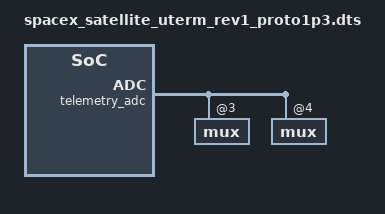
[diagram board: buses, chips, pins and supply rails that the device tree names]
/*
 * Copyright (C) 2018 STMicroelectronics (R&D) Limited.
 * Author: Nicolas Toromanoff <nicolas.toromanoff@st.com>
 *
 * This program is free software; you can redistribute it and/or modify
 * it under the terms of the GNU General Public License version 2 as
 * published by the Free Software Foundation.
 */

/dts-v1/;
#include "spacex_satellite_uterm_cut2.dtsi"
#include "spacex_satellite_uterm_production.dtsi"
#include "spacex_satellite_uterm_imu_spi2.dtsi"

/ {
	/*
	 * No STSAFE on this board.
	 */
	aliases {
		/delete-property/ i2c4;
	};

	gpios {
		/*
		 * WiFi.
		 */
		factory_rst   = <&pio21 6>;

		/*
		 * GPS.
		 */
		gps_boot      = <&pio10 4 1>; /* 0=UART, 1=SPI  */
		gps_reset     = <&pio11 7 1>; /* 0=reset, 1=run */

		/*
		 * Reset.
		 */
		self_reset = <&pio23 5 1>;   /* 0=reset*/

		/*
		 * Shiraz. (DBFs)
		 */
		dbf_v0p9_ok   = <&pio31 1>;

		/*
		 * Peanuts. (FEMs)
		 */
		fem_v1p8_ok   = <&pio31 0>;

		/*
		 * Actuator Control.
		 */
		motor2_nsleep = <&pio20 7 0>; /* 0=sleep_mode */
		motor2_ph     = <&pio20 6 0>; /* 0=reverse, 1=fwd */
		motor2_nfault = <&pio20 3>;   /* 0=at_fault */

		motor1_nsleep = <&pio20 0 0>; /* 0=sleep_mode */
		motor1_ph     = <&pio20 5 0>; /* 0=reverse, 1=fwd */
		motor1_nfault = <&pio22 2>;   /* 0=at_fault */
	};

	pwms {
		/*
		 * Adaptive voltage scaling.
		 */
		avs_core      = <&pwm0 0>;
		avs_cpu       = <&pwm0 1>;
	};

	soc {
		/*
		 * ADC temp sensors, voltage, and current monitors.
		 *
		 * Proto1 has 2 muxes on channels 3 and 4.
		 */
		telemetry_adc: sti_adc@8900000 {
			use-external = <0 0 0 0 0 0 0 1>;

			mux-gpio = <&pio12 4 0>,
				   <&pio12 6 0>,
				   <&pio12 7 0>;

			mux@3 {
				input-channel = <3>;
				vchan-count = <8>;
			};
			mux@4 {
				input-channel = <4>;
				vchan-count = <8>;
			};
		};

		/*
		 * No STSAFE on this board.
		 */
		i2c4: i2c4@8910000 {
			status = "disabled";
		};
	};
};
